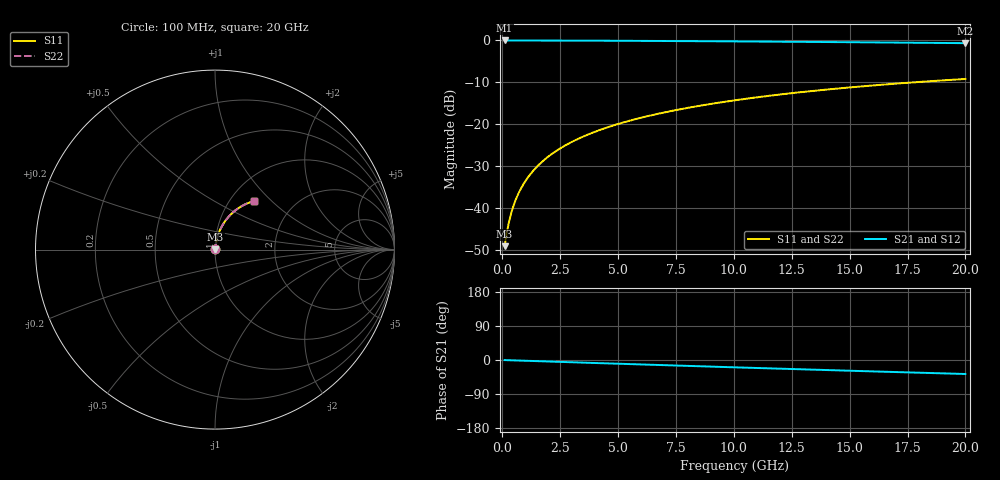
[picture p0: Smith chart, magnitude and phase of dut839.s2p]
! Touchstone file exported from HFSS 2026.1.0
!  File:  C:/ffzhzh/LocalFiles/Ansys_Project_Files/temp_train_BSMRDL_839_1783170379_18472.aedt
!  Generated:  09:07:36 PM Jul  4, 2026
!  Design:  BSMRDL
!  Project:  temp_train_BSMRDL_839_1783170379_18472
! Variables:
!  h_bsmrdl = 4.99um
!  h_ox = 20um
!  h_rdl = 5um
!  h_sub = 80um
!  h_tmrdl = 5um
!  h_tsv = 80um
!  h_via = 3um
!  l_bsmrdl = 544.13um
!  l_sub = 944.13um
!  l_tmrdl = 200um
!  m_sub = 200um
!  pitch = 37.25um
!  r_tsv = 6um
!  s_tmrdl = 10um
!  w_bsmrdl = 14.47um
!  w_sub = 500um
!  w_tmrdl = 12um
!  x_tsv_center1 = 206um
!  x_tsv_center2 = 764.6um
!  x_tsv_center3 = 976.6um
!  x_tsv_center4 = 1535.2um
!  x_tsv_center5 = 1747.2um
!  x_tsv_center6 = 2305.8um
# GHz S MA R 50.000000
! Terminal data exported
! Port[1] = BSM_RDL1_1_T1
! Port[2] = BSM_RDL1_1_T2
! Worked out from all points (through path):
!   200 points, 100 MHz to 20 GHz, reference 50 ohm
!   highest |S21| = -0.02 dB at 100 MHz (marker M1); lowest = -0.7 dB at 20 GHz (marker M2)
!   group delay of S21, straight-line fit = 5.13 ps
!   lowest |S11| = -49.0 dB at 100 MHz (marker M3), VSWR 1.01, Z = 50.3 + j0.222 ohm
!   |S11| at or under -10 dB: start of sweep to 17.76 GHz
!   |S22| runs from -49.0 to -9.2 dB; largest |S21 - S12| = 3.9e-15
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0.1  0.003544 38.6  0.9972 -0.2  0.9972 -0.2  0.003544 38.6
! Gamma 0 0 0 0
! Port Impedance 50 0 50 0
0.2  0.005232 56.4  0.9971 -0.4  0.9971 -0.4  0.005232 56.4
0.3  0.007128 64.8  0.997 -0.6  0.997 -0.6  0.007128 64.8
0.4  0.009083 69.6  0.9969 -0.8  0.9969 -0.8  0.009082 69.6
0.5  0.01106 72.7  0.9968 -1.0  0.9968 -1.0  0.01106 72.7
0.6  0.01307 74.8  0.9968 -1.2  0.9968 -1.2  0.01307 74.8
0.8  0.0171 77.4  0.9966 -1.6  0.9966 -1.6  0.0171 77.4
1.1  0.02321 79.4  0.9964 -2.2  0.9964 -2.2  0.02321 79.4
1.5  0.03138 80.4  0.9959 -3.0  0.9959 -3.0  0.03138 80.4
1.8  0.0375 80.7  0.9956 -3.6  0.9956 -3.6  0.0375 80.7
2.1  0.0436 80.6  0.9951 -4.2  0.9951 -4.2  0.0436 80.6
2.7  0.05572 80.1  0.9941 -5.4  0.9941 -5.4  0.05572 80.2
3.5  0.07168 79.1  0.9925 -7.0  0.9925 -7.0  0.07167 79.1
4.2  0.08544 78.0  0.9909 -8.3  0.9909 -8.3  0.08543 78.0
5  0.1009 76.7  0.9888 -9.9  0.9888 -9.9  0.1009 76.7
5.9  0.1181 75.1  0.9863 -11.6  0.9863 -11.6  0.1181 75.1
6.8  0.1349 73.6  0.9835 -13.3  0.9835 -13.3  0.1349 73.6
8.3  0.1624 71.0  0.9785 -16.1  0.9785 -16.1  0.1624 71.0
10.1  0.1944 67.8  0.9719 -19.5  0.9719 -19.5  0.1944 67.9
13.4  0.2498 62.2  0.958 -25.5  0.958 -25.5  0.2498 62.2
16.7  0.3008 56.6  0.9426 -31.3  0.9426 -31.3  0.3008 56.6
20  0.3471 51.1  0.9261 -36.9  0.9261 -36.9  0.3471 51.2
